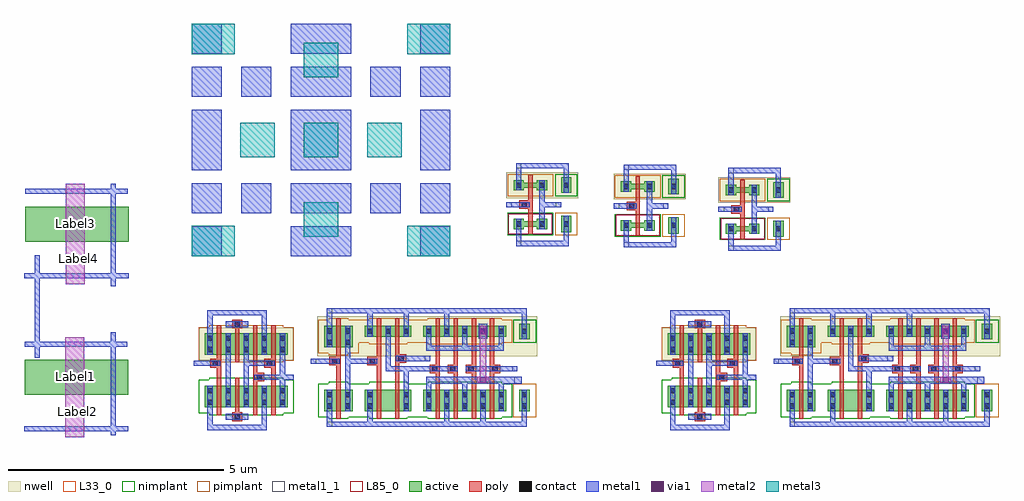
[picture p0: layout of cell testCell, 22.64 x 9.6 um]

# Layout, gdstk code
from math import pi, radians
import gdstk
lib = gdstk.Library(unit=1e-6, precision=5e-10)
def R(c, l, rs):  # rectangles x0, y0, x1, y1
    for r in rs: c.add(gdstk.rectangle(r[:2], r[2:], *l))
def A(c, l, x, y, w, h, nx, ny, dx, dy):  # array of equal rectangles
    R(c, l, [(x+i*dx, y+j*dy, x+i*dx+w, y+j*dy+h) for i in range(nx) for j in range(ny)])
def P(c, l, *ps):  # polygons
    for p in ps: c.add(gdstk.Polygon(p, *l))
active = (1, 0)
nwell = (2, 0)
poly = (3, 0)
nimplant = (4, 0)
pimplant = (5, 0)
contact = (6, 0)
metal1 = (7, 0)
metal1_1 = (7, 1)
via1 = (8, 0)
metal2 = (9, 0)
metal3 = (11, 0)
L33_0 = (33, 0)
L85_0 = (85, 0)

m1_pov_0 = lib.new_cell('M1_POv_0')
R(m1_pov_0, poly, [(-0.1,-0.12,0.1,0.12)])
R(m1_pov_0, contact, [(-0.06,-0.06,0.06,0.06)])
R(m1_pov_0, metal1, [(-0.06,-0.12,0.06,0.12)])

m2_m1v_0 = lib.new_cell('M2_M1v_0')
R(m2_m1v_0, metal1, [(-0.075,-0.13,0.075,0.13)])
R(m2_m1v_0, via1, [(-0.07,-0.07,0.07,0.07)])
R(m2_m1v_0, metal2, [(-0.075,-0.13,0.075,0.13)])

m1_pov_1 = lib.new_cell('M1_POv_1')
R(m1_pov_1, poly, [(-0.1,-0.12,0.1,0.12)])
R(m1_pov_1, contact, [(-0.06,-0.06,0.06,0.06)])
R(m1_pov_1, metal1, [(-0.06,-0.12,0.06,0.12)])

testcell3 = lib.new_cell('testCell3')
R(testcell3, active, [(0.54,0.91,1.2,1.41), (1.48,0.91,2.56,1.41), (2.84,0.91,4.76,1.41), (5.06,0.91,5.3,1.41), (0.54,2.39,1.2,2.89), (5.06,2.58,5.3,2.94), (1.48,2.64,2.56,2.89), (2.84,2.64,4.76,2.89)])
R(testcell3, nwell, [(0.38,2.18,5.48,3.11)])
A(testcell3, poly, 3.12, 0.73, 0.1, 2.34, 4, 1, 0.42, 0)
R(testcell3, poly, [(0.82,0.73,0.92,1.59), (1.76,0.73,1.86,3.07), (2.18,0.73,2.28,3.07), (0.82,1.54,0.92,2.29), (0.82,2.21,0.92,3.07)])
R(testcell3, nimplant, [(0.64,0.73,1.1,0.77), (1.58,0.73,2.46,0.77), (2.94,0.73,4.66,0.77), (0.4,0.77,1.34,1.55), (1.34,0.77,2.7,1.55), (2.7,0.77,4.9,1.55), (0.64,1.55,1.1,1.59), (1.58,1.55,2.46,1.59), (2.94,1.55,4.66,1.59), (4.92,2.5,5.45,3.03)])
R(testcell3, pimplant, [(4.92,0.77,5.45,1.55), (0.64,2.21,1.1,2.25), (0.4,2.25,1.34,3.03), (1.58,2.46,2.46,2.5), (2.94,2.46,4.66,2.5), (1.34,2.5,2.7,3.03), (2.7,2.5,4.9,3.03), (0.64,3.03,1.1,3.07), (1.58,3.03,2.46,3.07), (2.94,3.03,4.66,3.07)])
A(testcell3, contact, 2.9, 0.97, 0.12, 0.12, 5, 2, 0.42, 0.26)
A(testcell3, contact, 1.54, 2.7, 0.12, 0.12, 3, 1, 0.42, 0)
A(testcell3, contact, 2.9, 2.7, 0.12, 0.12, 5, 1, 0.42, 0)
R(testcell3, contact, [(0.6,0.97,0.72,1.09), (1.02,0.97,1.14,1.09), (1.54,0.97,1.66,1.09), (2.38,0.97,2.5,1.09), (5.12,0.97,5.24,1.09), (0.6,1.23,0.72,1.35), (1.02,1.23,1.14,1.35), (1.54,1.23,1.66,1.35), (2.38,1.23,2.5,1.35), (5.12,1.23,5.24,1.35), (0.6,2.45,0.72,2.57), (1.02,2.45,1.14,2.57), (5.12,2.7,5.24,2.82), (0.6,2.71,0.72,2.83), (1.02,2.71,1.14,2.83)])
R(testcell3, metal1_1, [(0.6,0.55,0.72,0.67), (4.95,1.55,5.12,1.71), (4.9,1.83,5.02,1.95), (0.23,2.01,0.35,2.13), (2.87,2.07,3,2.19), (0.6,3.18,0.72,3.3)])
testcell3.add(gdstk.FlexPath([(5.12,1.63),(2.9,1.63)], 0.16, ends="flush", simple_path=True, layer=7, datatype=0))  # metal1
testcell3.add(gdstk.FlexPath([(3.82,1.89),(5.02,1.89)], 0.12, ends="flush", simple_path=True, layer=7, datatype=0))  # metal1
testcell3.add(gdstk.FlexPath([(4.64,2.31),(4.64,2.89)], 0.12, ends="flush", simple_path=True, layer=7, datatype=0))  # metal1
testcell3.add(gdstk.FlexPath([(4.64,1.71),(4.64,0.91)], 0.12, ends="flush", simple_path=True, layer=7, datatype=0))  # metal1
testcell3.add(gdstk.FlexPath([(2.9,2.37),(4.7,2.37)], 0.12, ends="flush", simple_path=True, layer=7, datatype=0))  # metal1
testcell3.add(gdstk.FlexPath([(4.22,2.59),(4.22,2.94)], 0.2, ends="flush", simple_path=True, layer=7, datatype=0))  # metal1
testcell3.add(gdstk.FlexPath([(4.22,1.41),(4.22,0.55)], 0.12, ends="flush", simple_path=True, layer=7, datatype=0))  # metal1
testcell3.add(gdstk.FlexPath([(5.24,0.61),(0.6,0.61)], 0.12, ends="flush", simple_path=True, layer=7, datatype=0))  # metal1
testcell3.add(gdstk.FlexPath([(3.8,2.31),(3.8,2.89)], 0.12, ends="flush", simple_path=True, layer=7, datatype=0))  # metal1
testcell3.add(gdstk.FlexPath([(3.8,1.71),(3.8,0.91)], 0.12, ends="flush", simple_path=True, layer=7, datatype=0))  # metal1
testcell3.add(gdstk.FlexPath([(1.96,1.89),(3.64,1.89)], 0.12, ends="flush", simple_path=True, layer=7, datatype=0))  # metal1
testcell3.add(gdstk.FlexPath([(3.38,2.64),(3.38,3.3)], 0.12, ends="flush", simple_path=True, layer=7, datatype=0))  # metal1
testcell3.add(gdstk.FlexPath([(3.38,1.41),(3.38,0.55)], 0.12, ends="flush", simple_path=True, layer=7, datatype=0))  # metal1
testcell3.add(gdstk.FlexPath([(0.6,3.24),(5.24,3.24)], 0.12, ends="flush", simple_path=True, layer=7, datatype=0))  # metal1
testcell3.add(gdstk.FlexPath([(2.96,2.31),(2.96,2.89)], 0.12, ends="flush", simple_path=True, layer=7, datatype=0))  # metal1
testcell3.add(gdstk.FlexPath([(2.96,1.71),(2.96,0.91)], 0.12, ends="flush", simple_path=True, layer=7, datatype=0))  # metal1
testcell3.add(gdstk.FlexPath([(2.2,2.13),(3,2.13)], 0.12, ends="flush", simple_path=True, layer=7, datatype=0))  # metal1
testcell3.add(gdstk.FlexPath([(5.18,2.58),(5.18,3.3)], 0.12, ends="flush", simple_path=True, layer=7, datatype=0))  # metal1
testcell3.add(gdstk.FlexPath([(5.18,1.41),(5.18,0.55)], 0.12, ends="flush", simple_path=True, layer=7, datatype=0))  # metal1
testcell3.add(gdstk.FlexPath([(2.44,2.64),(2.44,3.3)], 0.12, ends="flush", simple_path=True, layer=7, datatype=0))  # metal1
testcell3.add(gdstk.FlexPath([(2.44,1.95),(2.44,0.91)], 0.12, ends="flush", simple_path=True, layer=7, datatype=0))  # metal1
testcell3.add(gdstk.FlexPath([(2.02,1.83),(2.02,2.89)], 0.12, ends="flush", simple_path=True, layer=7, datatype=0))  # metal1
testcell3.add(gdstk.FlexPath([(1.77,2.07),(1.02,2.07)], 0.12, ends="flush", simple_path=True, layer=7, datatype=0))  # metal1
testcell3.add(gdstk.FlexPath([(1.6,2.64),(1.6,3.3)], 0.12, ends="flush", simple_path=True, layer=7, datatype=0))  # metal1
testcell3.add(gdstk.FlexPath([(1.6,1.41),(1.6,0.55)], 0.12, ends="flush", simple_path=True, layer=7, datatype=0))  # metal1
testcell3.add(gdstk.FlexPath([(1.08,2.89),(1.08,0.91)], 0.12, ends="flush", simple_path=True, layer=7, datatype=0))  # metal1
testcell3.add(gdstk.FlexPath([(0.9,2.07),(0.23,2.07)], 0.12, ends="flush", simple_path=True, layer=7, datatype=0))  # metal1
testcell3.add(gdstk.FlexPath([(0.66,1.41),(0.66,0.55)], 0.12, ends="flush", simple_path=True, layer=7, datatype=0))  # metal1
testcell3.add(gdstk.FlexPath([(0.66,2.39),(0.66,3.3)], 0.12, ends="flush", simple_path=True, layer=7, datatype=0))  # metal1
testcell3.add(gdstk.FlexPath([(4.22,2.89),(4.22,1.56)], 0.14, ends="flush", simple_path=True, layer=9, datatype=0))  # metal2
testcell3.add(gdstk.Reference(m2_m1v_0, (4.22,1.63), rotation=pi/2))
testcell3.add(gdstk.Reference(m2_m1v_0, (4.22,2.76)))
testcell3.add(gdstk.Reference(m1_pov_1, (4.5,1.89), rotation=pi/2))
testcell3.add(gdstk.Reference(m1_pov_1, (3.94,1.89), rotation=pi/2))
testcell3.add(gdstk.Reference(m1_pov_1, (3.52,1.89), rotation=pi/2))
testcell3.add(gdstk.Reference(m1_pov_1, (3.1,1.89), rotation=pi/2))
testcell3.add(gdstk.Reference(m1_pov_1, (2.32,2.13), rotation=pi/2))
testcell3.add(gdstk.Reference(m1_pov_1, (1.65,2.07), rotation=pi/2))
testcell3.add(gdstk.Reference(m1_pov_1, (0.78,2.07), rotation=pi/2))
testcell3.add(gdstk.Label('Out', (5.06,1.63), layer=7, texttype=3))
testcell3.add(gdstk.Label('C', (4.96,1.88), layer=7, texttype=3))
testcell3.add(gdstk.Label('Vss', (0.66,0.6), layer=7, texttype=3))
testcell3.add(gdstk.Label('B', (2.93,2.11), layer=7, texttype=3))
testcell3.add(gdstk.Label('A', (0.28,2.06), layer=7, texttype=3))
testcell3.add(gdstk.Label('Vdd', (0.66,3.25), layer=7, texttype=3))

draw = lib.new_cell('draw')
R(draw, active, [(0.26,0.72,2.18,1.22), (0.26,1.94,2.18,2.44)])
R(draw, nwell, [(0.13,1.81,2.31,2.57)])
R(draw, poly, [(0.54,0.54,0.64,2.62), (0.96,0.54,1.06,1.4), (1.38,0.54,1.48,2.62), (1.8,0.54,1.9,2.62), (0.96,1.76,1.06,2.62)])
P(draw, nimplant, [(2.32,1.36),(2.08,1.36),(2.08,1.4),(0.36,1.4),(0.36,1.36),(0.12,1.36),(0.12,0.58),(0.36,0.58),(0.36,0.54),(2.08,0.54),(2.08,0.58),(2.32,0.58)])
P(draw, pimplant, [(2.32,2.58),(2.08,2.58),(2.08,2.62),(0.36,2.62),(0.36,2.58),(0.12,2.58),(0.12,1.8),(0.36,1.8),(0.36,1.76),(2.08,1.76),(2.08,1.8),(2.32,1.8)])
A(draw, contact, 0.32, 0.78, 0.12, 0.12, 5, 2, 0.42, 0.26)
A(draw, contact, 0.32, 2, 0.12, 0.12, 5, 2, 0.42, 0.26)
P(draw, metal1, [(1.88,1.8),(1.28,1.8),(1.28,2.44),(1.16,2.44),(1.16,0.72),(1.28,0.72),(1.28,1.68),(1.88,1.68)],
  [(2.32,1.48),(2.12,1.48),(2.12,2.44),(2,2.44),(2,1.48),(1.4,1.48),(1.4,1.36),(2,1.36),(2,0.72),(2.12,0.72),(2.12,1.36),(2.32,1.36)])
R(draw, metal1_1, [(0.95,0.44,1.07,0.56), (0.95,2.59,1.07,2.71)])
draw.add(gdstk.FlexPath([(0.38,1.94),(0.38,2.91),(1.64,2.91),(1.64,1.94)], 0.12, ends="flush", simple_path=True, layer=7, datatype=0))  # metal1
draw.add(gdstk.FlexPath([(0.62,1.74),(0,1.74)], 0.12, ends="flush", simple_path=True, layer=7, datatype=0))  # metal1
draw.add(gdstk.FlexPath([(0.8,2.44),(0.8,0.72)], 0.12, ends="flush", simple_path=True, layer=7, datatype=0))  # metal1
draw.add(gdstk.FlexPath([(0.74,0.5),(1.27,0.5)], 0.14, ends="flush", simple_path=True, layer=7, datatype=0))  # metal1
draw.add(gdstk.FlexPath([(0.74,2.65),(1.27,2.65)], 0.14, ends="flush", simple_path=True, layer=7, datatype=0))  # metal1
draw.add(gdstk.FlexPath([(0.38,1.22),(0.38,0.25),(1.64,0.25),(1.64,1.22)], 0.12, ends="flush", simple_path=True, layer=7, datatype=0))  # metal1
draw.add(gdstk.Reference(m1_pov_0, (1.01,2.65), rotation=pi/2))
draw.add(gdstk.Reference(m1_pov_0, (0.5,1.74), rotation=pi/2))
draw.add(gdstk.Reference(m1_pov_0, (1.01,0.5), rotation=pi/2))
draw.add(gdstk.Reference(m1_pov_0, (1.52,1.42), rotation=pi/2))
draw.add(gdstk.Reference(m1_pov_0, (1.76,1.74), rotation=pi/2))
draw.add(gdstk.Reference(testcell3, (2.49,-0.28)))
draw.add(gdstk.Label('OUT', (2.09,1.44), layer=7, texttype=0))
draw.add(gdstk.Label('VSS', (1.01,0.26), layer=7, texttype=0))
draw.add(gdstk.Label('VDD', (0.98,2.91), layer=7, texttype=0))
draw.add(gdstk.Label('ICLK', (1,2.19), layer=63, texttype=0))
draw.add(gdstk.Label('ICLKB', (1,1.05), layer=63, texttype=0))

database1 = lib.new_cell('database1')
A(database1, metal1, 0, 1, 0.7, 0.7, 3, 2, 1.15, 2.7)
A(database1, metal1, 3, 1, 0.7, 0.7, 3, 2, 1.15, 2.7)
R(database1, metal1, [(0,0,0.7,0.7), (2.3,0,3,0.7), (3,0,3.7,0.7), (5.3,0,6,0.7), (0,2,0.7,2.7), (2.3,2,3,2.7), (3,2,3.7,2.7), (5.3,2,6,2.7), (0,2.7,0.7,3.4), (2.3,2.7,3,3.4), (3,2.7,3.7,3.4), (5.3,2.7,6,3.4), (0,4.7,0.7,5.4), (2.3,4.7,3,5.4), (3,4.7,3.7,5.4), (5.3,4.7,6,5.4)])
A(database1, metal3, 1.13, 2.3, 0.8, 0.8, 3, 1, 1.47, 0)
R(database1, metal3, [(0,0,1,0.71), (5,0,6,0.71), (2.6,0.45,3.4,1.25), (2.6,4.15,3.4,4.95), (0,4.69,1,5.4), (5,4.69,6,5.4)])
R(database1, L33_0, [(0,0,0.7,0.7), (0,0,0.7,0.7), (5.3,0,6,0.7), (5.3,0,6,0.7), (2.6,0.45,3.4,0.7), (2.6,0.45,3.4,0.7), (2.6,1,3.4,1.25), (2.6,1,3.4,1.25), (2.6,2.3,3.4,3.1), (2.6,2.3,3.4,3.1), (2.6,4.15,3.4,4.4), (2.6,4.15,3.4,4.4), (0,4.7,0.7,5.4), (0,4.7,0.7,5.4), (2.6,4.7,3.4,4.95), (2.6,4.7,3.4,4.95), (5.3,4.7,6,5.4), (5.3,4.7,6,5.4)])

nmos1v_0 = lib.new_cell('nmos1v_0')
A(nmos1v_0, active, -0.1, 0, 0.1, 0.12, 3, 1, 0.1, 0)
R(nmos1v_0, active, [(-0.34,-0.06,-0.1,0.18), (0.2,-0.06,0.44,0.18)])
R(nmos1v_0, poly, [(0,-0.18,0.1,-0.16), (0,-0.16,0.1,0), (0,0,0.1,0.12), (0,0.12,0.1,0.28), (0,0.28,0.1,0.3)])
R(nmos1v_0, nimplant, [(-0.48,-0.2,0.58,0.32), (-0.18,-0.18,0.28,0.3)])
R(nmos1v_0, contact, [(-0.28,0,-0.16,0.12), (0.26,0,0.38,0.12)])
R(nmos1v_0, metal1, [(-0.28,-0.06,-0.16,0.18), (0.26,-0.06,0.38,0.18)])
R(nmos1v_0, L85_0, [(-0.46,-0.18,0.56,0.3)])

pmos1v_1 = lib.new_cell('pmos1v_1')
A(pmos1v_1, active, -0.1, 0, 0.1, 0.12, 3, 1, 0.1, 0)
R(pmos1v_1, active, [(-0.34,-0.06,-0.1,0.18), (0.2,-0.06,0.44,0.18)])
R(pmos1v_1, nwell, [(-0.46,-0.18,0.56,0.3)])
R(pmos1v_1, poly, [(0,-0.18,0.1,-0.16), (0,-0.16,0.1,0), (0,0,0.1,0.12), (0,0.12,0.1,0.28), (0,0.28,0.1,0.3)])
R(pmos1v_1, pimplant, [(-0.48,-0.2,0.58,0.32), (-0.18,-0.18,0.28,0.3)])
R(pmos1v_1, contact, [(-0.28,0,-0.16,0.12), (0.26,0,0.38,0.12)])
R(pmos1v_1, metal1, [(-0.28,-0.06,-0.16,0.18), (0.26,-0.06,0.38,0.18)])

inv_test = lib.new_cell('Inv_test')
R(inv_test, active, [(5.84,3.72,6.08,4.1), (5.84,4.63,6.08,4.99)])
R(inv_test, nwell, [(4.57,4.51,6.24,5.11)])
R(inv_test, poly, [(5.08,4.11,5.18,4.62)])
R(inv_test, nimplant, [(5.7,4.55,6.22,5.07)])
R(inv_test, pimplant, [(5.7,3.65,6.22,4.17)])
R(inv_test, contact, [(5.9,3.85,6.02,3.97), (5.9,4.75,6.02,4.87)])
R(inv_test, metal1_1, [(4.8,3.4,4.92,3.52), (4.57,4.3,4.7,4.42), (5.72,4.3,5.84,4.42), (4.8,5.2,4.92,5.32)])
inv_test.add(gdstk.FlexPath([(5.34,4.36),(5.84,4.36)], 0.12, ends="flush", simple_path=True, layer=7, datatype=0))  # metal1
inv_test.add(gdstk.FlexPath([(5.11,4.36),(4.57,4.36)], 0.12, ends="flush", simple_path=True, layer=7, datatype=0))  # metal1
inv_test.add(gdstk.FlexPath([(4.8,3.46),(6.02,3.46)], 0.12, ends="flush", simple_path=True, layer=7, datatype=0))  # metal1
inv_test.add(gdstk.FlexPath([(6.02,5.26),(4.8,5.26)], 0.12, ends="flush", simple_path=True, layer=7, datatype=0))  # metal1
inv_test.add(gdstk.FlexPath([(5.96,4.1),(5.96,3.4)], 0.12, ends="flush", simple_path=True, layer=7, datatype=0))  # metal1
inv_test.add(gdstk.FlexPath([(5.96,5.32),(5.96,4.63)], 0.12, ends="flush", simple_path=True, layer=7, datatype=0))  # metal1
inv_test.add(gdstk.FlexPath([(5.4,4.92),(5.4,3.79)], 0.12, ends="flush", simple_path=True, layer=7, datatype=0))  # metal1
inv_test.add(gdstk.FlexPath([(4.86,4.03),(4.86,3.4)], 0.12, ends="flush", simple_path=True, layer=7, datatype=0))  # metal1
inv_test.add(gdstk.FlexPath([(4.86,4.69),(4.86,5.32)], 0.12, ends="flush", simple_path=True, layer=7, datatype=0))  # metal1
inv_test.add(gdstk.Reference(nmos1v_0, (5.08,3.85)))
inv_test.add(gdstk.Reference(pmos1v_1, (5.08,4.75)))
inv_test.add(gdstk.Reference(m1_pov_1, (4.99,4.36), rotation=pi/2))
inv_test.add(gdstk.Label('Out', (5.78,4.37), layer=7, texttype=3))
inv_test.add(gdstk.Label('In', (4.63,4.37), layer=7, texttype=3))
inv_test.add(gdstk.Label('Vss', (4.87,3.46), layer=7, texttype=3))
inv_test.add(gdstk.Label('Vdd', (4.85,5.28), layer=7, texttype=3))

testcell = lib.new_cell('testCell')
R(testcell, active, [(0.3,1,2.7,1.81), (0.31,4.55,2.71,5.36)])
P(testcell, metal1, [(2.71,3.82),(2.415,3.82),(2.415,5.66),(2.695,5.66),(2.695,5.78),(2.415,5.78),(2.415,5.9),(2.295,5.9),(2.295,5.78),(0.31,5.78),(0.31,5.66),(2.295,5.66),(2.295,3.82),(0.655,3.82),(0.655,4.24),(0.535,4.24),(0.535,3.82),(0.295,3.82),(0.295,3.7),(0.535,3.7),(0.535,2.23),(0.3,2.23),(0.3,2.11),(0.535,2.11),(0.535,1.855),(0.655,1.855),(0.655,2.11),(2.295,2.11),(2.295,0.27),(0.285,0.27),(0.285,0.15),(2.295,0.15),(2.295,0.065),(2.415,0.065),(2.415,0.15),(2.7,0.15),(2.7,0.27),(2.415,0.27),(2.415,2.11),(2.685,2.11),(2.685,2.23),(2.415,2.23),(2.415,2.45),(2.295,2.45),(2.295,2.23),(0.655,2.23),(0.655,3.7),(2.295,3.7),(2.295,3.515),(2.415,3.515),(2.415,3.7),(2.71,3.7)])
R(testcell, metal2, [(1.24,0.01,1.68,2.34), (1.25,3.56,1.69,5.89)])
testcell.add(gdstk.Reference(draw, (14.95,-0.01)))
testcell.add(gdstk.Reference(draw, (4.22,-0.01)))
testcell.add(gdstk.Reference(database1, (4.17,4.21)))
testcell.add(gdstk.Reference(inv_test, (6.9,1.05)))
testcell.add(gdstk.Reference(inv_test, (9.39,1.02)))
testcell.add(gdstk.Reference(inv_test, (11.82,0.94)))
testcell.add(gdstk.Label('Label3', (1.48,4.97), layer=63, texttype=0))
testcell.add(gdstk.Label('Label4', (1.54,4.16), layer=63, texttype=0))
testcell.add(gdstk.Label('Label2', (1.53,0.61), layer=63, texttype=0))
testcell.add(gdstk.Label('Label1', (1.47,1.42), layer=63, texttype=0))

lib.write_gds('testCell.gds')
